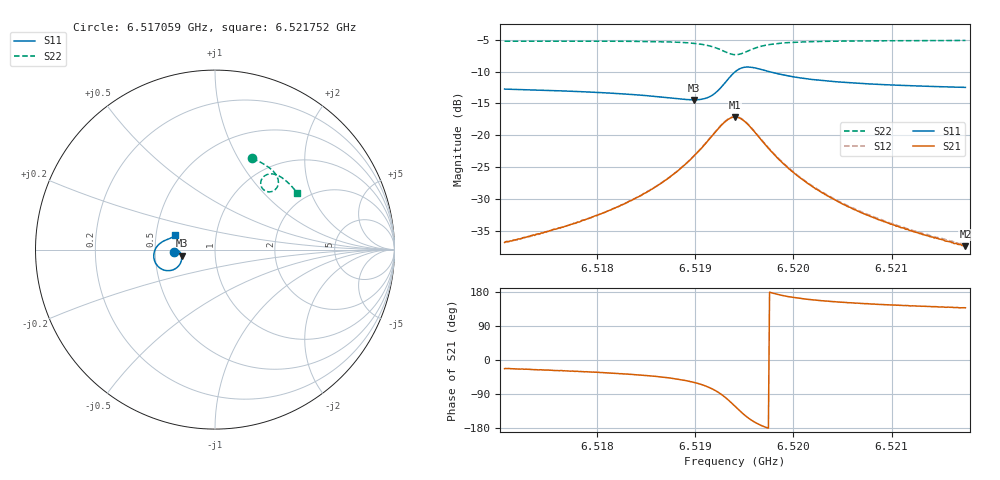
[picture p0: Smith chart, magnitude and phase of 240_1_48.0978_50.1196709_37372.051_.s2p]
#  HZ  S  RI  R  50.00
! Rohde & Schwarz Vector Network Analyzer
! Rohde-Schwarz,ZNB20-2Port,1311601062101988,3.16
! Created: UTC 12/23/2023, 3:58:39 AM
! freq[Hz]  re:S11  im:S11  re:S21  im:S21  re:S12  im:S12  re:S22  im:S22
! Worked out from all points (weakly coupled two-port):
!   401 points, 6.517059 GHz to 6.521752 GHz, reference 50 ohm
!   highest |S21| = -17.14 dB at 6.519406 GHz (marker M1); lowest = -37.5 dB at 6.521752 GHz (marker M2)
!   lowest |S11| = -14.4 dB at 6.518983 GHz (marker M3), VSWR 1.47, Z = 34.2 - j2.43 ohm
!   |S11| at or under -10 dB: start of sweep to 6.519409 GHz; 6.519754 GHz to end of sweep
!   |S22| runs from -7.3 to -5.1 dB; largest |S21 - S12| = 0.0044
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6.5170595e9  -0.2299 -0.016  0.0132 -0.00555  0.0134 -0.00501  0.2073 0.5077
6.5174231e9  -0.2259 -0.0106  0.0151 -0.00729  0.0153 -0.00693  0.2342 0.4964
6.5178454e9  -0.2198 -0.00571  0.0184 -0.0109  0.0186 -0.0101  0.2654 0.4803
6.518256e9  -0.2115 -0.004  0.0229 -0.0167  0.0235 -0.0161  0.2962 0.4608
6.5184437e9  -0.2063 -0.0051  0.0256 -0.0213  0.0264 -0.0206  0.3106 0.4496
6.5186314e9  -0.2002 -0.00886  0.0294 -0.0284  0.0303 -0.0277  0.3252 0.436
6.5188073e9  -0.1932 -0.017  0.0329 -0.0392  0.0343 -0.0383  0.3387 0.4193
6.5189833e9  -0.1865 -0.0343  0.0352 -0.0581  0.0372 -0.0573  0.3504 0.3951
6.5190889e9  -0.186 -0.053  0.0326 -0.0765  0.0351 -0.0759  0.3535 0.3745
6.5191827e9  -0.1935 -0.0774  0.022 -0.0986  0.0251 -0.0986  0.3481 0.3514
6.5193118e9  -0.2367 -0.1136  -0.0221 -0.127  -0.0184 -0.1286  0.3147 0.323
6.5194056e9  -0.2948 -0.1097  -0.0739 -0.1178  -0.0711 -0.1207  0.2744 0.3307
6.5194525e9  -0.3201 -0.0909  -0.0944 -0.0985  -0.0922 -0.102  0.2602 0.3468
6.5195112e9  -0.3378 -0.0594  -0.1066 -0.069  -0.1053 -0.0726  0.2547 0.3715
6.519605e9  -0.3382 -0.0131  -0.102 -0.0294  -0.102 -0.0326  0.2667 0.4021
6.5197106e9  -0.3223 0.0187  -0.0847 -0.00477  -0.0853 -0.00721  0.2898 0.4178
6.519957e9  -0.288 0.0466  -0.0528 0.0122  -0.0538 0.0109  0.333 0.4192
6.5201916e9  -0.2686 0.0553  -0.0368 0.0143  -0.0377 0.0134  0.36 0.4083
6.5205318e9  -0.2522 0.0619  -0.0247 0.0133  -0.0254 0.0128  0.3887 0.389
6.5209775e9  -0.2391 0.0683  -0.0167 0.0114  -0.0172 0.0111  0.4178 0.3624
6.5213294e9  -0.2317 0.0732  -0.0129 0.0102  -0.0135 0.00997  0.4374 0.3412
6.5217518e9  -0.2242 0.0789  -0.00992 0.009  -0.0104 0.00898  0.4582 0.3151
